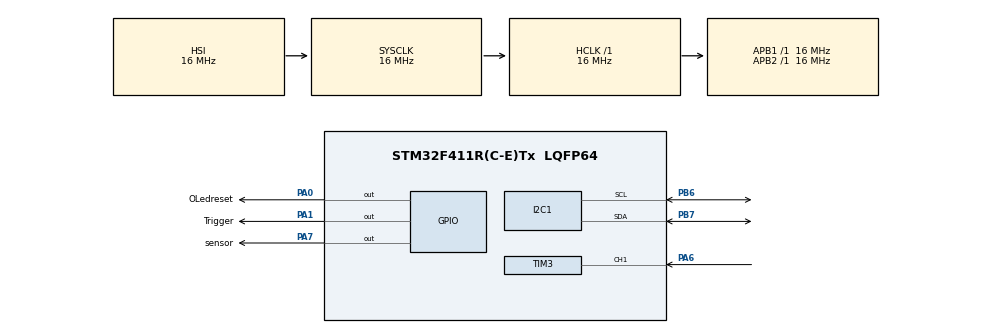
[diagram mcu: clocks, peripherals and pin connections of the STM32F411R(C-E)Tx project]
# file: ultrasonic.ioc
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I2C1.I2C_Mode=I2C_Fast
Mcu.Family=STM32F4
Mcu.Name=STM32F411R(C-E)Tx
Mcu.Package=LQFP64
NVIC.PriorityGroup=NVIC_PRIORITYGROUP_4
NVIC.TIM3_IRQn=true\:0\:0\:false\:false\:true\:true\:true\:true
PA0-WKUP.GPIO_Label=OLedreset
PA0-WKUP.Signal=GPIO_Output
PA1.GPIO_Label=Trigger
PA1.Signal=GPIO_Output
PA6.Signal=S_TIM3_CH1
PA7.GPIO_Label=sensor
PA7.Signal=GPIO_Output
PB6.Mode=I2C
PB6.Signal=I2C1_SCL
PB7.Mode=I2C
PB7.Signal=I2C1_SDA
ProjectManager.HeapSize=0x200
ProjectManager.StackSize=0x400
ProjectManager.TargetToolchain=STM32CubeIDE
RCC.AHBFreq_Value=16000000
RCC.APB1Freq_Value=16000000
RCC.APB2Freq_Value=16000000
RCC.CortexFreq_Value=16000000
RCC.HSE_VALUE=25000000
RCC.HSI_VALUE=16000000
RCC.LSE_VALUE=32768
RCC.SYSCLKFreq_VALUE=16000000
RCC.VCOOutputFreq_Value=192000000
SH.S_TIM3_CH1.0=TIM3_CH1,Input_Capture1_from_TI1
TIM3.Channel-Input_Capture1_from_TI1=TIM_CHANNEL_1
TIM3.Period=0xFFFF-1
TIM3.Prescaler=15
VP_TIM3_VS_ClockSourceINT.Mode=Internal
board=custom

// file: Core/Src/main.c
/* USER CODE BEGIN Header */
/**
  ******************************************************************************
  * @file           : main.c
  * @brief          : Main program body
  ******************************************************************************
  * @attention
  *
  * Copyright (c) 2023 STMicroelectronics.
  * All rights reserved.
  *
  * This software is licensed under terms that can be found in the LICENSE file
  * in the root directory of this software component.
  * If no LICENSE file comes with this software, it is provided AS-IS.
  *
  ******************************************************************************
  */
/* USER CODE END Header */
#include "main.h"

/* USER CODE BEGIN Includes */
#include "ssd1306.h"
/* USER CODE END Includes */

I2C_HandleTypeDef hi2c1;

TIM_HandleTypeDef htim3;

void SystemClock_Config(void);
static void MX_GPIO_Init(void);
static void MX_I2C1_Init(void);
static void MX_TIM3_Init(void);

/* USER CODE BEGIN 0 */

uint32_t IC_Val1 = 0;
uint32_t IC_Val2 = 0;
uint32_t Difference = 0;
uint8_t IsFirstCaptured = 0;//�?승 �? 하강
uint8_t Distance = 0;

void delay_us(uint16_t time) {
	//__HAL_TIM_SET_COUNTER(&htim3, 0);
	htim3.Instance->CNT = 0;
	while(htim3.Instance->CNT<time);
}

void HAL_TIM_IC_CaptureCallback(TIM_HandleTypeDef *htim) {
	if(htim->Channel == HAL_TIM_ACTIVE_CHANNEL_1) {
		//많�?� 채�? 중 1번 채�?�?�때만 if문 안으로 들어오게 �?�.
		if(IsFirstCaptured == 0){
			IC_Val1 = HAL_TIM_ReadCapturedValue(htim, TIM_CHANNEL_1);
			IsFirstCaptured = 1;
			//다�?��?� 여기로 들어오게 �?�
			__HAL_TIM_SET_CAPTUREPOLARITY(htim, TIM_CHANNEL_1, TIM_INPUTCHANNELPOLARITY_FALLING);
			//�?번째를 falling으로 바꿔줌
		}
		else if(IsFirstCaptured == 1){
			IC_Val2 = HAL_TIM_ReadCapturedValue(htim, TIM_CHANNEL_1);
			//copy 했으니까 �?�제 카운터를 초기화 해야함
			htim->Instance->CNT = 0;
			//초기화 �?�후�?는 계산�?� 해야함
			if(IC_Val2 > IC_Val1){
				Difference = IC_Val2 - IC_Val1;
			}
			else if(IC_Val2 < IC_Val1) {
				Difference = (0xffff - IC_Val1)+ IC_Val2;
			}
			Distance = Difference * 0.034 / 2;
			//다�?� 거리 측정�?� 위하여 다시 0으로 초기화
			IsFirstCaptured = 0;

			__HAL_TIM_SET_CAPTUREPOLARITY(htim, TIM_CHANNEL_1, TIM_INPUTCHANNELPOLARITY_FALLING);
			//�?래대로 다시 바꿔�?기 (falling -> rising)
			__HAL_TIM_DISABLE_IT(htim, TIM_IT_CC1);
			//�?�터럭트 disenable
		}
	}
}

uint32_t getDistance() {
	HAL_GPIO_WritePin(Trigger_GPIO_Port, Trigger_Pin, 1);
	delay_us(10);
	HAL_GPIO_WritePin(Trigger_GPIO_Port, Trigger_Pin, 0);

	//�?�터럭트 enable
	__HAL_TIM_ENABLE_IT(&htim3, TIM_IT_CC1);
	return Distance;
}
/*main.c
HAL_TIM_Base_Start(&htim1); */

/* USER CODE END 0 */

int main(void)
{

  /* MCU Configuration--------------------------------------------------------*/

  /* Reset of all peripherals, Initializes the Flash interface and the Systick. */
  HAL_Init();

  /* Configure the system clock */
  SystemClock_Config();

  /* Initialize all configured peripherals */
  MX_GPIO_Init();
  MX_I2C1_Init();
  MX_TIM3_Init();
  /* USER CODE BEGIN 2 */
ssd1306_Init();
HAL_TIM_IC_Start_IT(&htim3, TIM_CHANNEL_1);
  /* USER CODE END 2 */

  /* Infinite loop */
  while (1)
  {

    /* USER CODE BEGIN 3 */
	  softScrollLeft();
	  ssd1306_DrawPixel(127, getDistance(), 1);
	  ssd1306_UpdateScreen();
	  HAL_Delay(200);
	  /*ssd1306_SetCursor(30, 20);
	  char str[20];
	  sprintf(str, "%4dcm", getDistance());
	  ssd1306_WriteString(str, Font_11x18, 1);
	  ssd1306_UpdateScreen();
	  HAL_Delay(200);*/
	  if(getDistance() < 50){
		  HAL_GPIO_WritePin(sensor_GPIO_Port, sensor_Pin, 1);
		  HAL_Delay(10);
	  }
	  else {

		  HAL_GPIO_WritePin(sensor_GPIO_Port, sensor_Pin, 0);
		  HAL_Delay(10);
	  }

  /* USER CODE END 3 */
}

void SystemClock_Config(void)
{
  RCC_OscInitTypeDef RCC_OscInitStruct = {0};
  RCC_ClkInitTypeDef RCC_ClkInitStruct = {0};

  /** Configure the main internal regulator output voltage
  */
  __HAL_RCC_PWR_CLK_ENABLE();
  __HAL_PWR_VOLTAGESCALING_CONFIG(PWR_REGULATOR_VOLTAGE_SCALE1);

  /** Initializes the RCC Oscillators according to the specified parameters
  * in the RCC_OscInitTypeDef structure.
  */
  RCC_OscInitStruct.OscillatorType = RCC_OSCILLATORTYPE_HSI;
  RCC_OscInitStruct.HSIState = RCC_HSI_ON;
  RCC_OscInitStruct.HSICalibrationValue = RCC_HSICALIBRATION_DEFAULT;
  RCC_OscInitStruct.PLL.PLLState = RCC_PLL_NONE;
  if (HAL_RCC_OscConfig(&RCC_OscInitStruct) != HAL_OK)
  {
    Error_Handler();
  }

  /** Initializes the CPU, AHB and APB buses clocks
  */
  RCC_ClkInitStruct.ClockType = RCC_CLOCKTYPE_HCLK|RCC_CLOCKTYPE_SYSCLK
                              |RCC_CLOCKTYPE_PCLK1|RCC_CLOCKTYPE_PCLK2;
  RCC_ClkInitStruct.SYSCLKSource = RCC_SYSCLKSOURCE_HSI;
  RCC_ClkInitStruct.AHBCLKDivider = RCC_SYSCLK_DIV1;
  RCC_ClkInitStruct.APB1CLKDivider = RCC_HCLK_DIV1;
  RCC_ClkInitStruct.APB2CLKDivider = RCC_HCLK_DIV1;

  if (HAL_RCC_ClockConfig(&RCC_ClkInitStruct, FLASH_LATENCY_0) != HAL_OK)
  {
    Error_Handler();
  }
}

static void MX_I2C1_Init(void)
{

  hi2c1.Instance = I2C1;
  hi2c1.Init.ClockSpeed = 400000;
  hi2c1.Init.DutyCycle = I2C_DUTYCYCLE_2;
  hi2c1.Init.OwnAddress1 = 0;
  hi2c1.Init.AddressingMode = I2C_ADDRESSINGMODE_7BIT;
  hi2c1.Init.DualAddressMode = I2C_DUALADDRESS_DISABLE;
  hi2c1.Init.OwnAddress2 = 0;
  hi2c1.Init.GeneralCallMode = I2C_GENERALCALL_DISABLE;
  hi2c1.Init.NoStretchMode = I2C_NOSTRETCH_DISABLE;
  if (HAL_I2C_Init(&hi2c1) != HAL_OK)
  {
    Error_Handler();
  }

}

static void MX_TIM3_Init(void)
{

  TIM_ClockConfigTypeDef sClockSourceConfig = {0};
  TIM_MasterConfigTypeDef sMasterConfig = {0};
  TIM_IC_InitTypeDef sConfigIC = {0};

  htim3.Instance = TIM3;
  htim3.Init.Prescaler = 15;
  htim3.Init.CounterMode = TIM_COUNTERMODE_UP;
  htim3.Init.Period = 0xFFFF-1;
  htim3.Init.ClockDivision = TIM_CLOCKDIVISION_DIV1;
  htim3.Init.AutoReloadPreload = TIM_AUTORELOAD_PRELOAD_DISABLE;
  if (HAL_TIM_Base_Init(&htim3) != HAL_OK)
  {
    Error_Handler();
  }
  sClockSourceConfig.ClockSource = TIM_CLOCKSOURCE_INTERNAL;
  if (HAL_TIM_ConfigClockSource(&htim3, &sClockSourceConfig) != HAL_OK)
  {
    Error_Handler();
  }
  if (HAL_TIM_IC_Init(&htim3) != HAL_OK)
  {
    Error_Handler();
  }
  sMasterConfig.MasterOutputTrigger = TIM_TRGO_RESET;
  sMasterConfig.MasterSlaveMode = TIM_MASTERSLAVEMODE_DISABLE;
  if (HAL_TIMEx_MasterConfigSynchronization(&htim3, &sMasterConfig) != HAL_OK)
  {
    Error_Handler();
  }
  sConfigIC.ICPolarity = TIM_INPUTCHANNELPOLARITY_RISING;
  sConfigIC.ICSelection = TIM_ICSELECTION_DIRECTTI;
  sConfigIC.ICPrescaler = TIM_ICPSC_DIV1;
  sConfigIC.ICFilter = 0;
  if (HAL_TIM_IC_ConfigChannel(&htim3, &sConfigIC, TIM_CHANNEL_1) != HAL_OK)
  {
    Error_Handler();
  }

}

static void MX_GPIO_Init(void)
{
  GPIO_InitTypeDef GPIO_InitStruct = {0};

  /* GPIO Ports Clock Enable */
  __HAL_RCC_GPIOA_CLK_ENABLE();
  __HAL_RCC_GPIOB_CLK_ENABLE();

  /*Configure GPIO pin Output Level */
  HAL_GPIO_WritePin(GPIOA, OLedreset_Pin|Trigger_Pin|sensor_Pin, GPIO_PIN_RESET);

  /*Configure GPIO pins : OLedreset_Pin Trigger_Pin sensor_Pin */
  GPIO_InitStruct.Pin = OLedreset_Pin|Trigger_Pin|sensor_Pin;
  GPIO_InitStruct.Mode = GPIO_MODE_OUTPUT_PP;
  GPIO_InitStruct.Pull = GPIO_NOPULL;
  GPIO_InitStruct.Speed = GPIO_SPEED_FREQ_LOW;
  HAL_GPIO_Init(GPIOA, &GPIO_InitStruct);

}

void Error_Handler(void)
{
  __disable_irq();
  while (1)
  {
  }
}
}
